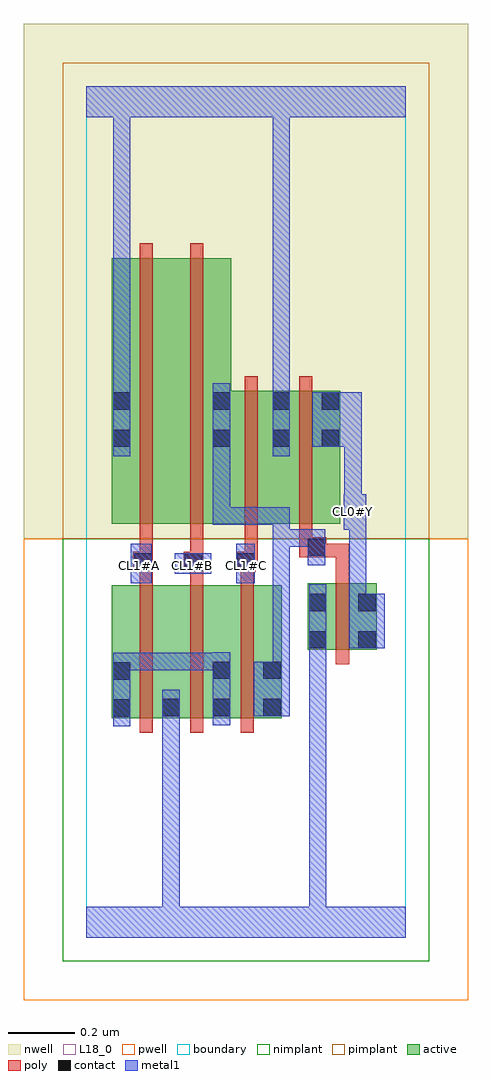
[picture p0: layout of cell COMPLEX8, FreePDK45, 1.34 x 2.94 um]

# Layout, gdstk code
import gdstk
lib = gdstk.Library(unit=1e-6, precision=1e-09)
def R(c, l, rs):  # rectangles x0, y0, x1, y1
    for r in rs: c.add(gdstk.rectangle(r[:2], r[2:], *l))
def A(c, l, x, y, w, h, nx, ny, dx, dy):  # array of equal rectangles
    R(c, l, [(x+i*dx, y+j*dy, x+i*dx+w, y+j*dy+h) for i in range(nx) for j in range(ny)])
active = (1, 0)
pwell = (2, 0)
nwell = (3, 0)
nimplant = (4, 0)
pimplant = (5, 0)
poly = (9, 0)
contact = (10, 0)
metal1 = (11, 0)
L18_0 = (18, 0)
boundary = (235, 0)

complex8 = lib.new_cell('COMPLEX8')
R(complex8, active, [(0.076,0.66,0.136,1.06), (0.076,0.66,0.284,1.06), (0.224,0.66,0.436,1.06), (0.224,0.66,0.284,0.926), (0.376,0.66,0.588,1.06), (0.376,0.66,0.436,0.834), (0.528,0.66,0.588,1.06), (0.666,0.866,0.726,1.066), (0.666,0.866,0.874,1.066), (0.814,0.866,0.874,1.066), (0.076,1.244,0.256,2.044), (0.076,1.244,0.136,2.044), (0.256,1.244,0.436,2.044), (0.376,1.244,0.616,1.644), (0.556,1.244,0.764,1.644), (0.704,1.244,0.764,1.644), (0.376,1.338,0.436,1.734), (0.556,1.338,0.616,1.644)])
R(complex8, pwell, [(-0.188,-0.188,1.148,1.2)])
R(complex8, nwell, [(-0.188,1.2,1.148,2.748)])
R(complex8, nimplant, [(-0.072,-0.072,1.032,1.2)])
R(complex8, pimplant, [(-0.072,1.2,1.032,2.632)])
A(complex8, poly, 0.16, 0.616, 0.04, 0.488, 3, 1, 0.152, 0)
A(complex8, poly, 0.16, 1.064, 0.04, 0.076, 3, 1, 0.152, 0)
R(complex8, poly, [(0.75,0.822,0.79,1.11), (0.75,1.07,0.79,1.184), (0.14,1.1,0.2,1.16), (0.16,1.1,0.2,1.14), (0.16,1.1,0.2,1.14), (0.292,1.1,0.352,1.16), (0.45,1.1,0.51,1.16), (0.16,1.12,0.2,1.24), (0.312,1.12,0.352,1.16), (0.312,1.12,0.352,1.16), (0.312,1.12,0.352,1.24), (0.47,1.12,0.51,1.16), (0.47,1.12,0.516,1.16), (0.476,1.12,0.516,1.24), (0.64,1.144,0.722,1.204), (0.682,1.144,0.722,1.184), (0.682,1.144,0.79,1.184), (0.64,1.164,0.68,1.24), (0.16,1.2,0.2,2.088), (0.312,1.2,0.352,2.088), (0.476,1.2,0.516,1.688), (0.64,1.2,0.68,1.688)])
A(complex8, contact, 0.228, 0.666, 0.052, 0.052, 3, 1, 0.152, 0)
R(complex8, contact, [(0.08,0.664,0.132,0.716), (0.08,0.776,0.132,0.828), (0.38,0.778,0.432,0.83), (0.532,0.778,0.584,0.83), (0.67,0.87,0.722,0.922), (0.818,0.87,0.87,0.922), (0.67,0.982,0.722,1.034), (0.818,0.982,0.87,1.034), (0.144,1.104,0.196,1.156), (0.296,1.104,0.348,1.156), (0.454,1.104,0.506,1.156), (0.666,1.148,0.718,1.2), (0.08,1.476,0.132,1.528), (0.38,1.476,0.432,1.528), (0.56,1.476,0.612,1.528), (0.708,1.476,0.76,1.528), (0.08,1.588,0.132,1.64), (0.38,1.588,0.432,1.64), (0.56,1.588,0.612,1.64), (0.708,1.588,0.76,1.64)])
R(complex8, metal1, [(0,0,0.96,0.092), (0.228,0.04,0.28,0.092), (0.228,0.04,0.28,0.092), (0.228,0.04,0.28,0.092), (0.228,0.04,0.28,0.092), (0.228,0.04,0.28,0.092), (0.228,0.04,0.28,0.092), (0.228,0.04,0.28,0.092), (0.228,0.04,0.28,0.092), (0.228,0.04,0.28,0.092), (0.228,0.04,0.28,0.092), (0.228,0.04,0.28,0.092), (0.228,0.04,0.28,0.092), (0.228,0.04,0.28,0.69), (0.67,0.04,0.722,0.092), (0.67,0.04,0.722,0.092), (0.67,0.04,0.722,0.092), (0.67,0.04,0.722,0.092), (0.67,0.04,0.722,0.092), (0.67,0.04,0.722,0.092), (0.67,0.04,0.722,0.092), (0.67,0.04,0.722,0.092), (0.67,0.04,0.722,0.092), (0.67,0.04,0.722,0.092), (0.67,0.04,0.722,0.092), (0.67,0.04,0.722,0.092), (0.67,0.04,0.722,0.092), (0.67,0.04,0.722,0.092), (0.67,0.04,0.722,0.092), (0.67,0.04,0.722,0.092), (0.67,0.04,0.722,0.894), (0.08,0.636,0.132,0.856), (0.228,0.638,0.28,0.746), (0.38,0.638,0.432,0.858), (0.504,0.666,0.612,0.83), (0.56,0.778,0.612,1.228), (0.08,0.804,0.132,0.856), (0.08,0.804,0.132,0.856), (0.08,0.804,0.322,0.856), (0.27,0.804,0.322,0.856), (0.27,0.804,0.322,0.856), (0.27,0.804,0.322,0.856), (0.27,0.804,0.432,0.856), (0.67,0.842,0.722,1.062), (0.79,0.87,0.898,1.034), (0.79,0.982,0.842,1.278), (0.134,1.066,0.196,1.184), (0.45,1.066,0.506,1.184), (0.266,1.094,0.376,1.156), (0.666,1.12,0.718,1.228), (0.56,1.176,0.612,1.228), (0.56,1.176,0.612,1.228), (0.56,1.176,0.622,1.228), (0.56,1.176,0.612,1.294), (0.57,1.176,0.622,1.228), (0.57,1.176,0.718,1.228), (0.774,1.226,0.842,1.334), (0.38,1.242,0.432,1.294), (0.38,1.242,0.432,1.294), (0.38,1.242,0.432,1.294), (0.38,1.242,0.612,1.294), (0.38,1.242,0.432,1.5), (0.776,1.282,0.828,1.528), (0.776,1.282,0.828,1.334), (0.776,1.282,0.828,1.334), (0.08,1.448,0.132,1.668), (0.38,1.448,0.432,1.668), (0.56,1.448,0.612,1.668), (0.68,1.476,0.828,1.64), (0.08,1.616,0.132,1.668), (0.08,1.616,0.132,1.668), (0.08,1.616,0.132,2.52), (0.56,1.616,0.612,1.668), (0.56,1.616,0.612,1.668), (0.56,1.616,0.612,1.668), (0.56,1.616,0.612,1.668), (0.56,1.616,0.612,1.668), (0.56,1.616,0.612,1.668), (0.56,1.616,0.612,1.668), (0.56,1.616,0.612,1.668), (0.56,1.616,0.612,1.668), (0.56,1.616,0.612,1.668), (0.56,1.616,0.612,2.52), (0,2.468,0.96,2.56), (0.08,2.468,0.132,2.52), (0.08,2.468,0.132,2.52), (0.08,2.468,0.132,2.52), (0.08,2.468,0.132,2.52), (0.08,2.468,0.132,2.52), (0.08,2.468,0.132,2.52), (0.56,2.468,0.612,2.52), (0.56,2.468,0.612,2.52), (0.56,2.468,0.612,2.52), (0.56,2.468,0.612,2.52), (0.56,2.468,0.612,2.52), (0.56,2.468,0.612,2.52)])
A(complex8, L18_0, 0.134, 1.094, 0.052, 0.052, 3, 1, 0.16, 0)
R(complex8, L18_0, [(0,0,0.96,0.092), (0.228,0.04,0.28,0.092), (0.228,0.04,0.28,0.092), (0.228,0.04,0.28,0.092), (0.228,0.04,0.28,0.092), (0.228,0.04,0.28,0.092), (0.228,0.04,0.28,0.092), (0.228,0.04,0.28,0.092), (0.228,0.04,0.28,0.092), (0.228,0.04,0.28,0.092), (0.228,0.04,0.28,0.092), (0.228,0.04,0.28,0.092), (0.228,0.04,0.28,0.092), (0.228,0.04,0.28,0.69), (0.67,0.04,0.722,0.092), (0.67,0.04,0.722,0.092), (0.67,0.04,0.722,0.092), (0.67,0.04,0.722,0.092), (0.67,0.04,0.722,0.092), (0.67,0.04,0.722,0.092), (0.67,0.04,0.722,0.092), (0.67,0.04,0.722,0.092), (0.67,0.04,0.722,0.092), (0.67,0.04,0.722,0.092), (0.67,0.04,0.722,0.092), (0.67,0.04,0.722,0.092), (0.67,0.04,0.722,0.092), (0.67,0.04,0.722,0.092), (0.67,0.04,0.722,0.092), (0.67,0.04,0.722,0.092), (0.67,0.04,0.722,0.894), (0.228,0.638,0.28,0.746), (0.67,0.842,0.722,1.062), (0.79,0.87,0.898,1.034), (0.79,0.982,0.842,1.278), (0.134,1.066,0.196,1.184), (0.45,1.066,0.506,1.184), (0.266,1.094,0.376,1.156), (0.774,1.226,0.842,1.334), (0.774,1.254,0.826,1.306), (0.776,1.282,0.828,1.334), (0.776,1.282,0.828,1.334), (0.776,1.282,0.828,1.528), (0.08,1.448,0.132,1.668), (0.56,1.448,0.612,1.668), (0.68,1.476,0.828,1.64), (0.08,1.616,0.132,1.668), (0.08,1.616,0.132,1.668), (0.08,1.616,0.132,2.52), (0.56,1.616,0.612,1.668), (0.56,1.616,0.612,1.668), (0.56,1.616,0.612,1.668), (0.56,1.616,0.612,1.668), (0.56,1.616,0.612,1.668), (0.56,1.616,0.612,1.668), (0.56,1.616,0.612,1.668), (0.56,1.616,0.612,1.668), (0.56,1.616,0.612,1.668), (0.56,1.616,0.612,1.668), (0.56,1.616,0.612,2.52), (0,2.468,0.96,2.56), (0.08,2.468,0.132,2.52), (0.08,2.468,0.132,2.52), (0.08,2.468,0.132,2.52), (0.08,2.468,0.132,2.52), (0.08,2.468,0.132,2.52), (0.08,2.468,0.132,2.52), (0.56,2.468,0.612,2.52), (0.56,2.468,0.612,2.52), (0.56,2.468,0.612,2.52), (0.56,2.468,0.612,2.52), (0.56,2.468,0.612,2.52), (0.56,2.468,0.612,2.52)])
R(complex8, boundary, [(0,0,0.96,2.56)])
complex8.add(gdstk.Label('CL0#Y', (0.8,1.28), layer=11, texttype=0))
complex8.add(gdstk.Label('CL1#A', (0.16,1.12), layer=11, texttype=0))
complex8.add(gdstk.Label('CL1#B', (0.32,1.12), layer=11, texttype=0))
complex8.add(gdstk.Label('CL1#C', (0.48,1.12), layer=11, texttype=0))

lib.write_gds('COMPLEX8.gds')
